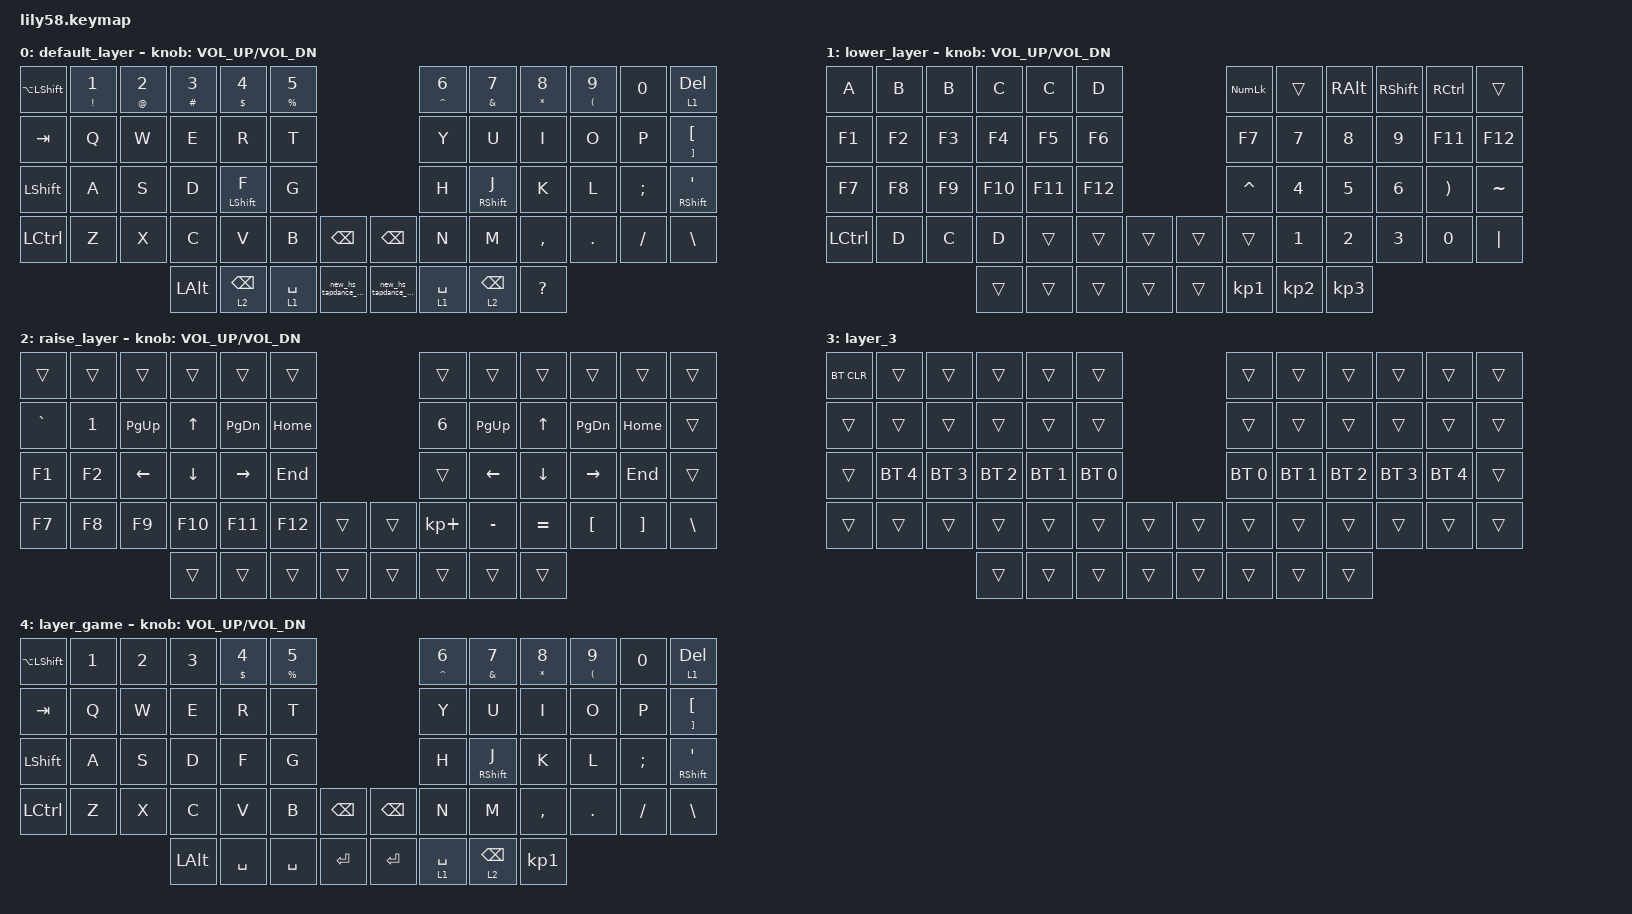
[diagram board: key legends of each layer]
/*
 * Copyright (c) 2020 The ZMK Contributors
 *
 * SPDX-License-Identifier: MIT
 */

#include <behaviors.dtsi>
#include <dt-bindings/zmk/bt.h>
#include <dt-bindings/zmk/keys.h>

/ {
    combos {
        compatible = "zmk,combos";

        combo_leftpar {
            timeout-ms = <50>;
            key-positions = <16 17>;
            bindings = <&kp LEFT_PARENTHESIS>;
        };

        combo_rightpar {
            key-positions = <18 19>;
            bindings = <&kp RIGHT_PARENTHESIS>;
        };

        combo_leftbarcket {
            bindings = <&kp LBRC>;
            key-positions = <28 29>;
            bindings = <&kp LBRC>;   // [
        };

        combo_rightbracket {
            key-positions = <30 31>;
            bindings = <&kp RBRC>;   // ]
        };

        combo_leftbrace {
            key-positions = <40 41>;
            bindings = <&kp LBKT>;   // {
        };

        combo_rightbrace {
            key-positions = <44 45>;
            bindings = <&kp RBKT>;   // }
        };

        combo_minus {
            key-positions = <15 16>;
            bindings = <&kp MINUS>;
        };

        combo_plus {
            key-positions = <14 15>;
            bindings = <&kp PLUS>;
        };

        combo_double_quotes {
            key-positions = <27 28>;
            bindings = <&kp DOUBLE_QUOTES>;
        };

        combo_sqt {
            key-positions = <31 32>;
            bindings = <&kp SQT>;
        };

        combo_pipe {
            key-positions = <20 19>;
            bindings = <&kp PIPE>;
        };

        combo_less_than {
            key-positions = <39 40>;
            bindings = <&kp LESS_THAN>;
        };

        combo_greater_than {
            key-positions = <45 46>;
            bindings = <&kp GREATER_THAN>;
        };

        combo_tilde {
            key-positions = <12 24>;
            bindings = <&kp TILDE>;
        };

        combo_grave {
            key-positions = <24 36>;
            bindings = <&kp GRAVE>;
        };

        combo_equal {
            bindings = <&kp EQUAL>;
            key-positions = <36 37>;
        };

        combo_ander {
            bindings = <&kp UNDER>;
            key-positions = <20 21>;
        };

        combo_eskape {
            bindings = <&kp ESCAPE>;
            key-positions = <0 1>;
        };

        combo_double_dot {
            bindings = <&kp KP_NUMBER_5>;
            key-positions = <24 25>;
        };

        combo_win {
            bindings = <&kp LEFT_WIN>;
            key-positions = <50 51>;
        };

        combo_layer3 {
            bindings = <&mo 3>;
            key-positions = <41 52>;
        };

        combo_layer1 {
            bindings = <&mo 1>;
            key-positions = <51 52>;
        };

        combo_geme_layer {
            bindings = <&tog 4>;
            key-positions = <36 11>;
        };

        combo_L3 {
            bindings = <&mo 3>;
            key-positions = <55 55 44>;
        };

        combo_space_left {
            bindings = <&kp SPACE>;
            key-positions = <26 27 28>;
        };

        combo_space_right {
            bindings = <&kp SPACE>;
            key-positions = <31 33 32>;
        };

        combo_backspace_left {
            bindings = <&kp BACKSPACE>;
            key-positions = <38 39 40>;
        };

        combo_backspace_right {
            bindings = <&kp BACKSPACE>;
            key-positions = <45 46 47>;
        };
    };

    behaviors {
        ALT_SHIFT_TOGGLE: behavior-keypress {
            compatible = "zmk,behavior-keypress";
            label = "ALT+SHIFT TAP";
            #binding-cells = <2>;
            key-press = <&kp LALT &kp LSHIFT>;
        };

        ss_hs_modmorph: ss_hs_modmorph {
            compatible = "zmk,behavior-mod-morph";
            label = "SS_HS_MODMORPH";
            bindings = <&kp M>, <&kp RIGHT_BRACKET>;

            #binding-cells = <0>;
            mods = <(MOD_LSFT|MOD_RSFT)>;
        };

        kh_hs_tapdance: kh_hs_tapdance {
            compatible = "zmk,behavior-tap-dance";
            label = "KH_HS_TAPDANCE";
            #binding-cells = <0>;
            tapping-term-ms = <200>;
            bindings = <&kp KP_NUMBER_1>, <&kp KP_NUMBER_2>, <&kp KP_NUMBER_3>;
        };

        hrm: hrm {
            compatible = "zmk,behavior-hold-tap";
            #binding-cells = <2>;
            flavor = "tap-preferred";
            tapping-term-ms = <200>;
            quick-tap-ms = <200>;
            require-prior-idle-ms = <125>;
            bindings = <&kp>, <&kp>;
        };

        new_hs_tapdance_dot: new_hs_tapdance_dot {
            compatible = "zmk,behavior-tap-dance";
            label = "NEW_HS_TAPDANCE_DOT";
            #binding-cells = <0>;
            tapping-term-ms = <200>;
            bindings = <&kp ENTER>, <&kp KP_NUMBER_1>;
        };

        new_hs_tapdance_coma: new_hs_tapdance_coma {
            compatible = "zmk,behavior-tap-dance";
            label = "NEW_HS_TAPDANCE_COMA";
            #binding-cells = <0>;
            tapping-term-ms = <200>;
            bindings = <&kp ENTER>, <&kp KP_NUMBER_2>;
        };
    };

    keymap {
        compatible = "zmk,keymap";

        default_layer {
            // ------------------------------------------------------------------------------------------------------------
            // |   `   |  !  |  @  |  #   |  $   |  %   |                   |  ^   |  &    |  *    |  (   |   )   |   DEL    |
            // |  TAB  |  Q  |  W  |  E   |  R   |  T   |                   |  Y   |  U    |  I    |  O   |   P   |  [/]     |
            // |  CTRL |  A  |  S  |  D   |  F   |  G   |                   |  H   |  J    |  K    |  L   |   ;   |   SHIFT  |
            // | SHIFT |  Z  |  X  |  C   |  V   |  B   |   "["  |  |  "]"  |  N   |  M    |  ,    |  .   |   /   |     \    |
            //                     | ALT  | GUI  | LOWER|  SPACE |  | ENTER | RAISE| BSPC  | GUI   |

            bindings = <
&kp LA(LSHFT)   &hrm EXCLAMATION NUMBER_1  &hrm AT_SIGN N2  &hrm HASH NUMBER_3  &hrm DOLLAR N4    &hrm PRCNT NUMBER_5                                                 &hrm CARET N6  &hrm AMPS N7        &hrm ASTRK N8  &hrm LPAR N9  &kp N0    &lt 1 DELETE
&kp TAB         &kp Q                      &kp W            &kp E               &kp R             &kp T                                                               &kp Y          &kp U               &kp I          &kp O         &kp P     &hrm RBKT LBKT
&kp LEFT_SHIFT  &kp A                      &kp S            &kp D               &mt LEFT_SHIFT F  &kp G                                                               &kp H          &hrm RIGHT_SHIFT J  &kp K          &kp L         &kp SEMI  &hrm RIGHT_SHIFT SQT
&kp LCTRL       &kp Z                      &kp X            &kp C               &kp V             &kp B                &kp BACKSPACE            &kp BACKSPACE         &kp N          &kp M               &kp COMMA      &kp DOT       &kp FSLH  &kp BACKSLASH
                                                            &kp LALT            &lt 2 BACKSPACE   &lt 1 SPACE          &new_hs_tapdance_coma    &new_hs_tapdance_dot  &lt 1 SPACE    &lt 2 BACKSPACE     &kp QUESTION
            >;

            sensor-bindings = <&inc_dec_kp C_VOL_UP C_VOL_DN>;
        };

        lower_layer {
            // ------------------------------------------------------------------------------------------------------------
            // | BTCLR | BT1 | BT2 |  BT3 |  BT4 |  BT5 |                   |      |       |       |      |       |       |
            // |  F1   |  F2 |  F3 |  F4  |  F5  |  F6  |                   |  F7  |  F8   |  F9   |  F10 |  F11  |  F12  |
            // |   `   |  !  |  @  |  #   |  $   |  %   |                   |  ^   |  &    |  *    |  (   |   )   |   ~   |
            // |       |     |     |      |      |      |        |  |       |      |  _    |  +    |  {   |   }   |  "|"  |
            //                     |      |      |      |        |  |       |      |       |       |

            bindings = <
&kp A             &kp B   &kp B   &kp C    &kp C    &kp D                      &kp KP_NUMLOCK   &trans           &kp RIGHT_ALT    &kp RIGHT_SHIFT  &kp RIGHT_CONTROL  &trans
&kp F1            &kp F2  &kp F3  &kp F4   &kp F5   &kp F6                     &kp F7           &kp N7           &kp N8           &kp N9           &kp F11            &kp F12
&kp F7            &kp F8  &kp F9  &kp F10  &kp F11  &kp F12                    &kp CARET        &kp N4           &kp N5           &kp N6           &kp RPAR           &kp TILDE
&kp LEFT_CONTROL  &kp D   &kp C   &kp D    &trans   &trans   &trans    &trans  &trans           &kp N1           &kp N2           &kp N3           &kp N0             &kp PIPE
                                  &trans   &trans   &trans   &trans    &trans  &kp KP_NUMBER_1  &kp KP_NUMBER_2  &kp KP_NUMBER_3
            >;

            sensor-bindings = <&inc_dec_kp C_VOL_UP C_VOL_DN>;
        };

        raise_layer {
            // ------------------------------------------------------------------------------------------------------------
            // |       |     |     |      |      |      |                   |      |       |       |      |       |       |
            // |   `   |  1  |  2  |  3   |  4   |  5   |                   |  6   |   7   |   8   |  9   |   0   |       |
            // |   F1  |  F2 |  F3 |  F4  |  F5  |  F6  |                   |      |   <-  |   v   |  ^   |  ->   |       |
            // |   F7  |  F8 |  F9 |  F10 |  F11 |  F12 |        |  |       |  +   |   -   |   =   |  [   |   ]   |   \   |
            //                     |      |      |      |        |  |       |      |       |       |

            bindings = <
&trans     &trans  &trans       &trans    &trans         &trans                      &trans       &trans       &trans     &trans         &trans    &trans
&kp GRAVE  &kp N1  &kp PAGE_UP  &kp UP    &kp PAGE_DOWN  &kp HOME                    &kp N6       &kp PAGE_UP  &kp UP     &kp PAGE_DOWN  &kp HOME  &trans
&kp F1     &kp F2  &kp LEFT     &kp DOWN  &kp RIGHT      &kp END                     &trans       &kp LEFT     &kp DOWN   &kp RIGHT      &kp END   &trans
&kp F7     &kp F8  &kp F9       &kp F10   &kp F11        &kp F12   &trans    &trans  &kp KP_PLUS  &kp MINUS    &kp EQUAL  &kp LBKT       &kp RBKT  &kp BSLH
                                &trans    &trans         &trans    &trans    &trans  &trans       &trans       &trans
            >;

            sensor-bindings = <&inc_dec_kp C_VOL_UP C_VOL_DN>;
        };

        layer_3 {
            bindings = <
&bt BT_CLR  &trans        &trans        &trans        &trans        &trans                          &trans        &trans        &trans        &trans        &trans        &trans
&trans      &trans        &trans        &trans        &trans        &trans                          &trans        &trans        &trans        &trans        &trans        &trans
&trans      &bt BT_SEL 4  &bt BT_SEL 3  &bt BT_SEL 2  &bt BT_SEL 1  &bt BT_SEL 0                    &bt BT_SEL 0  &bt BT_SEL 1  &bt BT_SEL 2  &bt BT_SEL 3  &bt BT_SEL 4  &trans
&trans      &trans        &trans        &trans        &trans        &trans        &trans    &trans  &trans        &trans        &trans        &trans        &trans        &trans
                                        &trans        &trans        &trans        &trans    &trans  &trans        &trans        &trans
            >;
        };

        layer_game {
            bindings = <
&kp LA(LSHFT)   &kp N1  &kp N2  &kp N3    &hrm DOLLAR N4  &hrm PRCNT NUMBER_5                                  &hrm CARET N6  &hrm AMPS N7        &hrm ASTRK N8    &hrm LPAR N9  &kp N0    &lt 1 DELETE
&kp TAB         &kp Q   &kp W   &kp E     &kp R           &kp T                                                &kp Y          &kp U               &kp I            &kp O         &kp P     &hrm RBKT LBKT
&kp LEFT_SHIFT  &kp A   &kp S   &kp D     &kp F           &kp G                                                &kp H          &hrm RIGHT_SHIFT J  &kp K            &kp L         &kp SEMI  &hrm RIGHT_SHIFT SQT
&kp LCTRL       &kp Z   &kp X   &kp C     &kp V           &kp B                &kp BACKSPACE    &kp BACKSPACE  &kp N          &kp M               &kp COMMA        &kp DOT       &kp FSLH  &kp BACKSLASH
                                &kp LALT  &kp SPACE       &kp SPACE            &kp ENTER        &kp ENTER      &lt 1 SPACE    &lt 2 BACKSPACE     &kp KP_NUMBER_1
            >;

            sensor-bindings = <&inc_dec_kp C_VOL_UP C_VOL_DN>;
        };
    };
};
